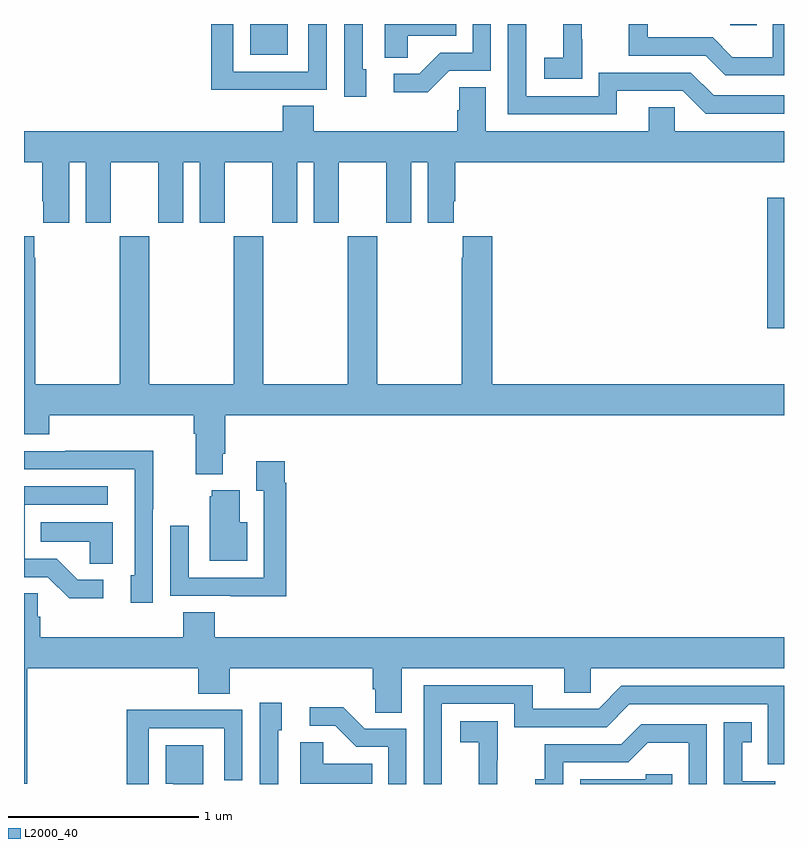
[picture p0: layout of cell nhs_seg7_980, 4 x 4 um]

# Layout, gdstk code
import gdstk
lib = gdstk.Library(unit=1e-6, precision=1e-09)
def R(c, l, rs):  # rectangles x0, y0, x1, y1
    for r in rs: c.add(gdstk.rectangle(r[:2], r[2:], *l))
def P(c, l, *ps):  # polygons
    for p in ps: c.add(gdstk.Polygon(p, *l))
L2000_40 = (2000, 40)

nhs_seg7_980 = lib.new_cell('nhs_seg7_980')
R(nhs_seg7_980, L2000_40, [(186.913,1010.4,187,1011.085), (184.19,1011.839,184.387,1012), (186.717,1011.993,186.857,1012)])
P(nhs_seg7_980, L2000_40, [(187,1012),(186.942,1012),(186.942,1011.826),(186.728,1011.826),(186.624,1011.93),(186.282,1011.93),(186.282,1012),(186.184,1012),(186.184,1011.834),(186.587,1011.834),(186.692,1011.729),(187,1011.729)],
  [(185.937,1011.919),(185.936,1011.919),(185.936,1012),(185.837,1012),(185.837,1011.823),(185.739,1011.823),(185.739,1011.713),(185.937,1011.713)],
  [(186.121,1011.648),(186.468,1011.648),(186.588,1011.528),(187,1011.528),(187,1011.624),(186.63,1011.624),(186.51,1011.744),(186.024,1011.744),(186.024,1011.621),(185.643,1011.621),(185.643,1012),(185.547,1012),(185.547,1011.525),(186.121,1011.525)],
  [(184.801,1011.762),(184.782,1011.762),(184.782,1012),(184.686,1012),(184.686,1011.618),(184.801,1011.618)],
  [(185.019,1011.938),(185.276,1011.938),(185.276,1012),(184.898,1012),(184.898,1011.823),(185.019,1011.823)],
  [(184.277,1011.654),(184.593,1011.654),(184.593,1012),(184.497,1012),(184.497,1011.75),(184.101,1011.75),(184.101,1012),(183.985,1012),(183.985,1011.653),(184.277,1011.653)],
  [(185.238,1011.753),(185.457,1011.753),(185.457,1012),(185.361,1012),(185.361,1011.849),(185.192,1011.849),(185.081,1011.738),(184.947,1011.738),(184.947,1011.641),(185.125,1011.641)],
  [(183,1011.272),(183.095,1011.272),(183.095,1011.067),(183.101,1011.067),(183.101,1010.955),(183.238,1010.955),(183.238,1011.272),(183.326,1011.272),(183.326,1010.955),(183.457,1010.955),(183.457,1011.272),(183.707,1011.272),(183.707,1010.955),(183.838,1010.955),(183.838,1011.272),(183.926,1011.272),(183.926,1010.955),(184.057,1010.955),(184.057,1011.272),(184.307,1011.272),(184.307,1010.955),(184.438,1010.955),(184.438,1011.272),(184.526,1011.272),(184.526,1010.955),(184.657,1010.955),(184.657,1011.272),(184.907,1011.272),(184.907,1010.955),(185.038,1010.955),(185.038,1011.272),(185.126,1011.272),(185.126,1010.955),(185.263,1010.955),(185.263,1011.067),(185.27,1011.067),(185.27,1011.272),(187,1011.272),(187,1011.436),(186.426,1011.436),(186.426,1011.563),(186.287,1011.563),(186.287,1011.436),(185.431,1011.436),(185.431,1011.668),(185.292,1011.668),(185.292,1011.545),(185.279,1011.545),(185.279,1011.436),(184.526,1011.436),(184.526,1011.569),(184.361,1011.569),(184.361,1011.436),(183,1011.436)],
  [(184.045,1009.738),(184.058,1009.738),(184.058,1009.94),(187,1009.94),(187,1010.104),(185.465,1010.104),(185.465,1010.884),(185.309,1010.884),(185.309,1010.771),(185.305,1010.771),(185.305,1010.104),(184.86,1010.104),(184.86,1010.884),(184.705,1010.884),(184.705,1010.104),(184.26,1010.104),(184.26,1010.884),(184.105,1010.884),(184.105,1010.104),(183.66,1010.104),(183.66,1010.884),(183.505,1010.884),(183.505,1010.104),(183.06,1010.104),(183.06,1010.771),(183.055,1010.771),(183.055,1010.884),(183,1010.884),(183,1009.841),(183.134,1009.841),(183.134,1009.94),(183.893,1009.94),(183.893,1009.844),(183.905,1009.844),(183.905,1009.631),(184.045,1009.631)],
  [(183.678,1009.447),(183.681,1009.447),(183.681,1009.754),(183.217,1009.754),(183.217,1009.752),(183,1009.752),(183,1009.656),(183.582,1009.656),(183.582,1009.098),(183.563,1009.098),(183.563,1008.954),(183.678,1008.954)],
  [(184.379,1009.586),(184.372,1009.586),(184.372,1009.699),(184.223,1009.699),(184.223,1009.543),(184.263,1009.543),(184.263,1009.086),(183.867,1009.086),(183.867,1009.36),(183.771,1009.36),(183.771,1008.99),(184.087,1008.99),(184.087,1008.989),(184.379,1008.989)],
  [(183.418,1009.074),(183.283,1009.074),(183.172,1009.185),(183.003,1009.185),(183.003,1009.47),(183.442,1009.47),(183.442,1009.566),(183,1009.566),(183,1009.089),(183.126,1009.089),(183.239,1008.977),(183.418,1008.977)],
  [(184.174,1009.378),(184.135,1009.378),(184.135,1009.546),(183.989,1009.546),(183.989,1009.515),(183.977,1009.515),(183.977,1009.175),(184.174,1009.175)],
  [(183.466,1009.378),(183.088,1009.378),(183.088,1009.274),(183.345,1009.274),(183.345,1009.159),(183.466,1009.159)],
  [(183.016,1008.608),(183.917,1008.608),(183.917,1008.475),(184.082,1008.475),(184.082,1008.608),(184.835,1008.608),(184.835,1008.499),(184.848,1008.499),(184.848,1008.376),(184.987,1008.376),(184.987,1008.608),(185.843,1008.608),(185.843,1008.481),(185.982,1008.481),(185.982,1008.608),(187,1008.608),(187,1008.772),(184.004,1008.772),(184.004,1008.905),(183.839,1008.905),(183.839,1008.772),(183.086,1008.772),(183.086,1008.881),(183.072,1008.881),(183.072,1009.004),(183,1009.004),(183,1008.002),(183.016,1008.002)],
  [(185.199,1008.423),(185.58,1008.423),(185.58,1008.3),(186.066,1008.3),(186.186,1008.42),(186.915,1008.42),(186.915,1008.105),(187,1008.105),(187,1008.516),(186.144,1008.516),(186.024,1008.396),(185.677,1008.396),(185.677,1008.519),(185.103,1008.519),(185.103,1008),(185.199,1008)],
  [(184.338,1008.282),(184.357,1008.282),(184.357,1008.427),(184.242,1008.427),(184.242,1008),(184.338,1008)],
  [(185.013,1008.291),(184.794,1008.291),(184.681,1008.404),(184.503,1008.404),(184.503,1008.306),(184.637,1008.306),(184.748,1008.195),(184.917,1008.195),(184.917,1008),(185.013,1008)],
  [(183.657,1008.294),(184.053,1008.294),(184.053,1008.021),(184.149,1008.021),(184.149,1008.39),(183.833,1008.39),(183.833,1008.392),(183.541,1008.392),(183.541,1008),(183.657,1008)],
  [(185.492,1008.125),(185.493,1008.125),(185.493,1008.331),(185.295,1008.331),(185.295,1008.221),(185.393,1008.221),(185.393,1008),(185.492,1008)],
  [(186.954,1008.015),(186.781,1008.015),(186.781,1008.219),(186.83,1008.219),(186.83,1008.325),(186.684,1008.325),(186.684,1008),(186.954,1008)],
  [(185.838,1008.114),(186.18,1008.114),(186.284,1008.218),(186.498,1008.218),(186.498,1008),(186.594,1008),(186.594,1008.315),(186.248,1008.315),(186.143,1008.21),(185.74,1008.21),(185.74,1008.025),(185.691,1008.025),(185.691,1008),(185.838,1008)],
  [(184.832,1008.106),(184.575,1008.106),(184.575,1008.221),(184.454,1008.221),(184.454,1008.002),(184.832,1008.002)],
  [(183.943,1008.205),(183.746,1008.205),(183.746,1008.002),(183.785,1008.002),(183.785,1008),(183.943,1008)],
  [(186.413,1008.051),(186.273,1008.051),(186.273,1008.024),(185.928,1008.024),(185.928,1008),(186.413,1008)])

lib.write_gds('nhs_seg7_980.gds')
